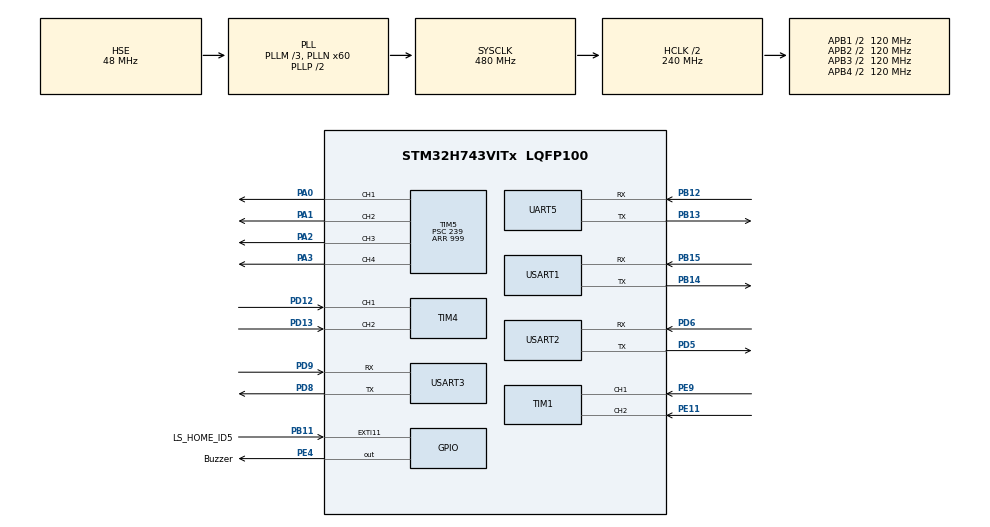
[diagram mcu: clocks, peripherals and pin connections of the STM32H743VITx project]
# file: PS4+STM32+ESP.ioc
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CORTEX_M7.default_mode_Activation=1
Dma.Request0=USART1_RX
Dma.Request1=USART1_TX
Dma.Request2=USART3_RX
Dma.Request3=USART3_TX
Dma.Request4=USART2_RX
Dma.Request5=USART2_TX
Dma.Request6=UART5_RX
Dma.Request7=UART5_TX
Dma.UART5_RX.6.Direction=DMA_PERIPH_TO_MEMORY
Dma.UART5_RX.6.EventEnable=DISABLE
Dma.UART5_RX.6.FIFOMode=DMA_FIFOMODE_DISABLE
Dma.UART5_RX.6.Instance=DMA1_Stream3
Dma.UART5_RX.6.MemDataAlignment=DMA_MDATAALIGN_BYTE
Dma.UART5_RX.6.MemInc=DMA_MINC_ENABLE
Dma.UART5_RX.6.Mode=DMA_NORMAL
Dma.UART5_RX.6.PeriphDataAlignment=DMA_PDATAALIGN_BYTE
Dma.UART5_RX.6.PeriphInc=DMA_PINC_DISABLE
Dma.UART5_RX.6.Polarity=HAL_DMAMUX_REQ_GEN_RISING
Dma.UART5_RX.6.Priority=DMA_PRIORITY_MEDIUM
Dma.UART5_RX.6.RequestNumber=1
Dma.UART5_RX.6.SignalID=NONE
Dma.UART5_RX.6.SyncEnable=DISABLE
Dma.UART5_RX.6.SyncPolarity=HAL_DMAMUX_SYNC_NO_EVENT
Dma.UART5_RX.6.SyncRequestNumber=1
Dma.UART5_RX.6.SyncSignalID=NONE
Dma.UART5_TX.7.Direction=DMA_MEMORY_TO_PERIPH
Dma.UART5_TX.7.EventEnable=DISABLE
Dma.UART5_TX.7.FIFOMode=DMA_FIFOMODE_DISABLE
Dma.UART5_TX.7.Instance=DMA1_Stream7
Dma.UART5_TX.7.MemDataAlignment=DMA_MDATAALIGN_BYTE
Dma.UART5_TX.7.MemInc=DMA_MINC_ENABLE
Dma.UART5_TX.7.Mode=DMA_NORMAL
Dma.UART5_TX.7.PeriphDataAlignment=DMA_PDATAALIGN_BYTE
Dma.UART5_TX.7.PeriphInc=DMA_PINC_DISABLE
Dma.UART5_TX.7.Polarity=HAL_DMAMUX_REQ_GEN_RISING
Dma.UART5_TX.7.Priority=DMA_PRIORITY_MEDIUM
Dma.UART5_TX.7.RequestNumber=1
Dma.UART5_TX.7.SignalID=NONE
Dma.UART5_TX.7.SyncEnable=DISABLE
Dma.UART5_TX.7.SyncPolarity=HAL_DMAMUX_SYNC_NO_EVENT
Dma.UART5_TX.7.SyncRequestNumber=1
Dma.UART5_TX.7.SyncSignalID=NONE
Dma.USART1_RX.0.Direction=DMA_PERIPH_TO_MEMORY
Dma.USART1_RX.0.EventEnable=DISABLE
Dma.USART1_RX.0.FIFOMode=DMA_FIFOMODE_DISABLE
Dma.USART1_RX.0.Instance=DMA1_Stream0
Dma.USART1_RX.0.MemDataAlignment=DMA_MDATAALIGN_BYTE
Dma.USART1_RX.0.MemInc=DMA_MINC_ENABLE
Dma.USART1_RX.0.Mode=DMA_NORMAL
Dma.USART1_RX.0.PeriphDataAlignment=DMA_PDATAALIGN_BYTE
Dma.USART1_RX.0.PeriphInc=DMA_PINC_DISABLE
Dma.USART1_RX.0.Polarity=HAL_DMAMUX_REQ_GEN_RISING
Dma.USART1_RX.0.Priority=DMA_PRIORITY_MEDIUM
Dma.USART1_RX.0.RequestNumber=1
Dma.USART1_RX.0.SignalID=NONE
Dma.USART1_RX.0.SyncEnable=DISABLE
Dma.USART1_RX.0.SyncPolarity=HAL_DMAMUX_SYNC_NO_EVENT
Dma.USART1_RX.0.SyncRequestNumber=1
Dma.USART1_RX.0.SyncSignalID=NONE
Dma.USART1_TX.1.Direction=DMA_MEMORY_TO_PERIPH
Dma.USART1_TX.1.EventEnable=DISABLE
Dma.USART1_TX.1.FIFOMode=DMA_FIFOMODE_DISABLE
Dma.USART1_TX.1.Instance=DMA1_Stream4
Dma.USART1_TX.1.MemDataAlignment=DMA_MDATAALIGN_BYTE
Dma.USART1_TX.1.MemInc=DMA_MINC_ENABLE
Dma.USART1_TX.1.Mode=DMA_NORMAL
Dma.USART1_TX.1.PeriphDataAlignment=DMA_PDATAALIGN_BYTE
Dma.USART1_TX.1.PeriphInc=DMA_PINC_DISABLE
Dma.USART1_TX.1.Polarity=HAL_DMAMUX_REQ_GEN_RISING
Dma.USART1_TX.1.Priority=DMA_PRIORITY_MEDIUM
Dma.USART1_TX.1.RequestNumber=1
Dma.USART1_TX.1.SignalID=NONE
Dma.USART1_TX.1.SyncEnable=DISABLE
Dma.USART1_TX.1.SyncPolarity=HAL_DMAMUX_SYNC_NO_EVENT
Dma.USART1_TX.1.SyncRequestNumber=1
Dma.USART1_TX.1.SyncSignalID=NONE
Dma.USART2_RX.4.Direction=DMA_PERIPH_TO_MEMORY
Dma.USART2_RX.4.EventEnable=DISABLE
Dma.USART2_RX.4.FIFOMode=DMA_FIFOMODE_DISABLE
Dma.USART2_RX.4.Instance=DMA1_Stream1
Dma.USART2_RX.4.MemDataAlignment=DMA_MDATAALIGN_BYTE
Dma.USART2_RX.4.MemInc=DMA_MINC_ENABLE
Dma.USART2_RX.4.Mode=DMA_NORMAL
Dma.USART2_RX.4.PeriphDataAlignment=DMA_PDATAALIGN_BYTE
Dma.USART2_RX.4.PeriphInc=DMA_PINC_DISABLE
Dma.USART2_RX.4.Polarity=HAL_DMAMUX_REQ_GEN_RISING
Dma.USART2_RX.4.Priority=DMA_PRIORITY_VERY_HIGH
Dma.USART2_RX.4.RequestNumber=1
Dma.USART2_RX.4.SignalID=NONE
Dma.USART2_RX.4.SyncEnable=DISABLE
Dma.USART2_RX.4.SyncPolarity=HAL_DMAMUX_SYNC_NO_EVENT
Dma.USART2_RX.4.SyncRequestNumber=1
Dma.USART2_RX.4.SyncSignalID=NONE
Dma.USART2_TX.5.Direction=DMA_MEMORY_TO_PERIPH
Dma.USART2_TX.5.EventEnable=DISABLE
Dma.USART2_TX.5.FIFOMode=DMA_FIFOMODE_DISABLE
Dma.USART2_TX.5.Instance=DMA1_Stream6
Dma.USART2_TX.5.MemDataAlignment=DMA_MDATAALIGN_BYTE
Dma.USART2_TX.5.MemInc=DMA_MINC_ENABLE
Dma.USART2_TX.5.Mode=DMA_NORMAL
Dma.USART2_TX.5.PeriphDataAlignment=DMA_PDATAALIGN_BYTE
Dma.USART2_TX.5.PeriphInc=DMA_PINC_DISABLE
Dma.USART2_TX.5.Polarity=HAL_DMAMUX_REQ_GEN_RISING
Dma.USART2_TX.5.Priority=DMA_PRIORITY_VERY_HIGH
Dma.USART2_TX.5.RequestNumber=1
Dma.USART2_TX.5.SignalID=NONE
Dma.USART2_TX.5.SyncEnable=DISABLE
Dma.USART2_TX.5.SyncPolarity=HAL_DMAMUX_SYNC_NO_EVENT
Dma.USART2_TX.5.SyncRequestNumber=1
Dma.USART2_TX.5.SyncSignalID=NONE
Dma.USART3_RX.2.Direction=DMA_PERIPH_TO_MEMORY
Dma.USART3_RX.2.EventEnable=DISABLE
Dma.USART3_RX.2.FIFOMode=DMA_FIFOMODE_DISABLE
Dma.USART3_RX.2.Instance=DMA1_Stream5
Dma.USART3_RX.2.MemDataAlignment=DMA_MDATAALIGN_BYTE
Dma.USART3_RX.2.MemInc=DMA_MINC_ENABLE
Dma.USART3_RX.2.Mode=DMA_NORMAL
Dma.USART3_RX.2.PeriphDataAlignment=DMA_PDATAALIGN_BYTE
Dma.USART3_RX.2.PeriphInc=DMA_PINC_DISABLE
Dma.USART3_RX.2.Polarity=HAL_DMAMUX_REQ_GEN_RISING
Dma.USART3_RX.2.Priority=DMA_PRIORITY_VERY_HIGH
Dma.USART3_RX.2.RequestNumber=1
Dma.USART3_RX.2.SignalID=NONE
Dma.USART3_RX.2.SyncEnable=DISABLE
Dma.USART3_RX.2.SyncPolarity=HAL_DMAMUX_SYNC_NO_EVENT
Dma.USART3_RX.2.SyncRequestNumber=1
Dma.USART3_RX.2.SyncSignalID=NONE
Dma.USART3_TX.3.Direction=DMA_MEMORY_TO_PERIPH
Dma.USART3_TX.3.EventEnable=DISABLE
Dma.USART3_TX.3.FIFOMode=DMA_FIFOMODE_DISABLE
Dma.USART3_TX.3.Instance=DMA1_Stream2
Dma.USART3_TX.3.MemDataAlignment=DMA_MDATAALIGN_BYTE
Dma.USART3_TX.3.MemInc=DMA_MINC_ENABLE
Dma.USART3_TX.3.Mode=DMA_NORMAL
Dma.USART3_TX.3.PeriphDataAlignment=DMA_PDATAALIGN_BYTE
Dma.USART3_TX.3.PeriphInc=DMA_PINC_DISABLE
Dma.USART3_TX.3.Polarity=HAL_DMAMUX_REQ_GEN_RISING
Dma.USART3_TX.3.Priority=DMA_PRIORITY_VERY_HIGH
Dma.USART3_TX.3.RequestNumber=1
Dma.USART3_TX.3.SignalID=NONE
Dma.USART3_TX.3.SyncEnable=DISABLE
Dma.USART3_TX.3.SyncPolarity=HAL_DMAMUX_SYNC_NO_EVENT
Dma.USART3_TX.3.SyncRequestNumber=1
Dma.USART3_TX.3.SyncSignalID=NONE
Mcu.Family=STM32H7
Mcu.Name=STM32H743VITx
Mcu.Package=LQFP100
NVIC.DMA1_Stream0_IRQn=true\:0\:0\:false\:false\:true\:false\:true\:true
NVIC.DMA1_Stream1_IRQn=true\:0\:0\:false\:false\:true\:false\:true\:true
NVIC.DMA1_Stream2_IRQn=true\:0\:0\:false\:false\:true\:false\:true\:true
NVIC.DMA1_Stream3_IRQn=true\:0\:0\:false\:false\:true\:false\:true\:true
NVIC.DMA1_Stream4_IRQn=true\:0\:0\:false\:false\:true\:false\:true\:true
NVIC.DMA1_Stream5_IRQn=true\:0\:0\:false\:false\:true\:false\:true\:true
NVIC.DMA1_Stream6_IRQn=true\:0\:0\:false\:false\:true\:false\:true\:true
NVIC.DMA1_Stream7_IRQn=true\:0\:0\:false\:false\:true\:false\:true\:true
NVIC.EXTI15_10_IRQn=true\:0\:0\:false\:false\:true\:true\:true\:true
NVIC.PriorityGroup=NVIC_PRIORITYGROUP_4
NVIC.TIM16_IRQn=true\:0\:0\:false\:false\:true\:true\:true\:true
NVIC.TIM17_IRQn=true\:0\:0\:false\:false\:true\:true\:true\:true
NVIC.TIM5_IRQn=true\:0\:0\:false\:false\:true\:true\:true\:true
NVIC.UART5_IRQn=true\:0\:0\:false\:false\:true\:true\:true\:true
NVIC.USART1_IRQn=true\:0\:0\:false\:false\:true\:true\:true\:true
NVIC.USART2_IRQn=true\:0\:0\:false\:false\:true\:true\:true\:true
NVIC.USART3_IRQn=true\:0\:0\:false\:false\:true\:true\:true\:true
PA0.Signal=S_TIM5_CH1
PA1.Signal=S_TIM5_CH2
PA2.Signal=S_TIM5_CH3
PA3.Signal=S_TIM5_CH4
PB11.GPIO_Label=LS_HOME_ID5
PB11.GPIO_ModeDefaultEXTI=GPIO_MODE_IT_RISING
PB11.GPIO_PuPd=GPIO_PULLUP
PB11.Signal=GPXTI11
PB12.Mode=Asynchronous
PB12.Signal=UART5_RX
PB13.Mode=Asynchronous
PB13.Signal=UART5_TX
PB14.Mode=Asynchronous
PB14.Signal=USART1_TX
PB15.Mode=Asynchronous
PB15.Signal=USART1_RX
PD12.Signal=S_TIM4_CH1
PD13.Signal=S_TIM4_CH2
PD5.Mode=Asynchronous
PD5.Signal=USART2_TX
PD6.Mode=Asynchronous
PD6.Signal=USART2_RX
PD8.Mode=Asynchronous
PD8.Signal=USART3_TX
PD9.Mode=Asynchronous
PD9.Signal=USART3_RX
PE11.Signal=S_TIM1_CH2
PE4.GPIO_Label=Buzzer
PE4.PinState=GPIO_PIN_SET
PE4.Signal=GPIO_Output
PE9.Signal=S_TIM1_CH1
PH0-OSC_IN\ (PH0).Mode=HSE-External-Oscillator
PH0-OSC_IN\ (PH0).Signal=RCC_OSC_IN
PH1-OSC_OUT\ (PH1).Mode=HSE-External-Oscillator
PH1-OSC_OUT\ (PH1).Signal=RCC_OSC_OUT
ProjectManager.HeapSize=0x200
ProjectManager.StackSize=0x400
ProjectManager.TargetToolchain=MDK-ARM V5
RCC.ADCFreq_Value=480000000
RCC.APB1Freq_Value=120000000
RCC.APB2Freq_Value=120000000
RCC.APB3Freq_Value=120000000
RCC.APB4Freq_Value=120000000
RCC.CortexFreq_Value=480000000
RCC.D1PPRE=RCC_APB3_DIV2
RCC.D2PPRE1=RCC_APB1_DIV2
RCC.D2PPRE2=RCC_APB2_DIV2
RCC.D3PPRE=RCC_APB4_DIV2
RCC.DATA_CACHE_ENABLE=1
RCC.DIVM1=3
RCC.DIVM2=3
RCC.DIVN1=60
RCC.DIVN2=60
RCC.HCLKFreq_Value=240000000
RCC.HPRE=RCC_HCLK_DIV2
RCC.HSE_VALUE=48000000
RCC.INSTRUCTION_CACHE_ENABLE=1
RCC.PLL2FRACN=0
RCC.PLL3FRACN=0
RCC.PLLFRACN=0
RCC.PLLSourceVirtual=RCC_PLLSOURCE_HSE
RCC.PREFETCH_ENABLE=1
RCC.SYSCLKFreq_VALUE=480000000
RCC.SYSCLKSource=RCC_SYSCLKSOURCE_PLLCLK
RCC.USBFreq_Value=480000000
SH.S_TIM1_CH1.0=TIM1_CH1,Encoder_Interface
SH.S_TIM1_CH2.0=TIM1_CH2,Encoder_Interface
SH.S_TIM4_CH1.0=TIM4_CH1,Encoder_Interface
SH.S_TIM4_CH2.0=TIM4_CH2,Encoder_Interface
SH.S_TIM5_CH1.0=TIM5_CH1,PWM Generation1 CH1
SH.S_TIM5_CH2.0=TIM5_CH2,PWM Generation2 CH2
SH.S_TIM5_CH3.0=TIM5_CH3,PWM Generation3 CH3
SH.S_TIM5_CH4.0=TIM5_CH4,PWM Generation4 CH4
TIM1.IC1Polarity=TIM_ICPOLARITY_FALLING
TIM16.Prescaler=3
TIM17.Prescaler=3
TIM4.IC1Polarity=TIM_ICPOLARITY_FALLING
TIM5.Channel-PWM\ Generation1\ CH1=TIM_CHANNEL_1
TIM5.Channel-PWM\ Generation2\ CH2=TIM_CHANNEL_2
TIM5.Channel-PWM\ Generation3\ CH3=TIM_CHANNEL_3
TIM5.Channel-PWM\ Generation4\ CH4=TIM_CHANNEL_4
TIM5.OCMode_PWM-PWM\ Generation1\ CH1=TIM_OCMODE_PWM2
TIM5.OCMode_PWM-PWM\ Generation2\ CH2=TIM_OCMODE_PWM2
TIM5.Period=999
TIM5.Prescaler=239
USART1.VirtualMode-Asynchronous=VM_ASYNC
USART2.VirtualMode-Asynchronous=VM_ASYNC
USART3.VirtualMode-Asynchronous=VM_ASYNC
VP_MEMORYMAP_VS_MEMORYMAP.Mode=CurAppReg
VP_TIM16_VS_ClockSourceINT.Mode=Enable_Timer
VP_TIM17_VS_ClockSourceINT.Mode=Enable_Timer
VP_TIM5_VS_ClockSourceINT.Mode=Internal
board=custom

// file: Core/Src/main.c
/* USER CODE BEGIN Header */
/**
 ******************************************************************************
 * @file           : main.c
 * @brief          : Main program body
 ******************************************************************************
 * @attention
 *
 * Copyright (c) 2026 STMicroelectronics.
 * All rights reserved.
 *
 * This software is licensed under terms that can be found in the LICENSE file
 * in the root directory of this software component.
 * If no LICENSE file comes with this software, it is provided AS-IS.
 *
 ******************************************************************************
 */
/* USER CODE END Header */
#include "main.h"
#include "dma.h"
#include "tim.h"
#include "usart.h"
#include "gpio.h"

/* USER CODE BEGIN Includes */
#include <math.h>
#include "PS4_ESP.h"
#include "PID.h"
#include "DRIVER_PID_AML.h"
#include "TIMER_TIMEOUT.h"
#include "MECANUM_FIELD_KIN.h"
#include "WT901C.h"
#include "ROBOT_ACCELERATION.h"

/* USER CODE END Includes */

/* USER CODE BEGIN PV */
// Bien PS4
extern volatile BS Button_State;
volatile BS Last_Button = BUTTON_NONE;
typedef enum
{
  BUTTON_IDLE,
  BUTTON_PRESSED,
  BUTTON_RELEASED
} ButtonState_t;
volatile ButtonState_t Button_Hold_State = BUTTON_IDLE;

volatile uint8_t Button_Debounce_Counter = 0;
#define BUTTON_DEBOUNCE_THRESHOLD 5

// Timeout va Flags
Task_Timeout Task_TO[TASK_NUMS];
uint16_t Timer_OVF_Flag_2 = 0;
volatile uint16_t tick_1ms_pending = 0;
volatile uint8_t ps4_req_flag = 0;
volatile uint8_t wheel_send_flag = 0;
volatile uint8_t steering_send_flag = 0;

// Robot Mecanum
MRb Mecanum_4_Bot;
PID_TypeDef Mecanum_Omega_PID;

// IMU
WT901C IMU;
uint8_t Robot_Reset_Home = 0;
float initial_angle = 0.0f;

// Trang thai nut bam
uint8_t Button_X_Active = 0;
uint8_t Button_Circle_Active = 0;
int8_t Robot_Direction = 1;
uint8_t PS4_Ever_Connected = 0;

// Motor drivers
#define WHEEL_MOTOR_COUNT 4
#define STEERING_MOTOR_COUNT 2
#define STEERING0_MASK 0x01u
#define STEERING1_MASK 0x02u
#define STEERING0_PRESET_COUNT 3
Motor_Driver Wheel_Motors[WHEEL_MOTOR_COUNT];
Motor_Driver Steering_Motors[STEERING_MOTOR_COUNT];

volatile int16_t Steering_Target[STEERING_MOTOR_COUNT] = {0, 0};
volatile int16_t Steering_Home_Target[STEERING_MOTOR_COUNT] = {0, 0};
volatile uint8_t Steering_Dirty_Mask = 0;
static const int16_t Steering0_Presets[3] = {8400, 13000, 18500};
static const int16_t Steering0_OpenPresets[3] = {7000, 10000, 15500};
volatile uint8_t Steering0_Preset_Index = 0;

#define UP_DOUBLE_PRESS_MS 350
#define RIGHT_MULTI_PRESS_MS 450
#define TOUCHPAD_WHEEL_LOCK_MS 250
#define STEERING_HOME_REQUEST_DELAY_MS 120
#define STEERING_HOME_FIXED_ID5 0
#define STEERING_HOME_FIXED_ID6 0
#define LS_HOME_ID5_DEBOUNCE_MS 20u
#define LS_HOME_ID5_ACTIVE_STATE GPIO_PIN_RESET
#define STEERING_ID5_HOME_SEEK_TARGET (-28000)
volatile uint8_t Up_Click_Armed = 0;
volatile uint32_t Up_Last_Click_Tick = 0;
volatile uint8_t Right_Click_Count = 0;
volatile uint32_t Right_Last_Click_Tick = 0;
volatile uint32_t Wheel_Lock_Until_Tick = 0;
volatile uint8_t LS_Home_Id5_Stop_Request = 0;
volatile uint8_t LS_Home_Id5_Homing_Armed = 0;
volatile uint32_t LS_Home_Id5_Last_Tick = 0;
volatile uint8_t DBG_LS_Id5_PinState = 0u;
volatile uint8_t DBG_LS_Id5_HomingArmed = 0u;
volatile uint8_t DBG_LS_Id5_Pending = 0u;
volatile uint8_t DBG_LS_Id5_StopReq = 0u;
volatile uint8_t DBG_PS4_ButtonState = 0u;
volatile uint8_t DBG_PS4_LastButton = 0u;
volatile uint8_t DBG_L1_Home_Request_Count = 0u;
volatile uint8_t DBG_LS_Id5_EXTI_Count = 0u;
volatile uint8_t DBG_LS_Id5_Latched_Count = 0u;
// Buzzer
struct
{
  uint8_t active;
  uint16_t duration;
  uint16_t counter;
} Buzzer = {0};

RobotAcceleration Wheel_Acceleration[WHEEL_MOTOR_COUNT];
RobotAcceleration Steering_Acceleration[STEERING_MOTOR_COUNT];

float prev_vx_cmd = 0.0f;
float prev_vy_cmd = 0.0f;
float prev_omg_cmd = 0.0f;

typedef enum
{
  LED_A,
  LED_B,
  LED_RUN,
  LED_FAULT
} LED_TypeDef;

#define JOYSTICK_DEADBAND 0.06f
#define SLEW_VX_PER_MS 0.008f
#define SLEW_VY_PER_MS 0.008f
#define SLEW_OMG_PER_MS 0.008f
#define CONTROL_DT_SEC 0.001f
#define WHEEL_ACCEL_DURATION_SEC 0.18f
#define STEERING_ACCEL_DURATION_SEC 0.15f
#define STEERING_REFRESH_MS 20u
#define WHEEL1_GAIN 1.00f
#define WHEEL2_GAIN 0.68f
#define WHEEL3_GAIN 1.00f
#define WHEEL4_GAIN 1.00f

#define YAW_SPEED_SCALE 1.5f
#define YAW_FIX_ROT_INPUT_DEADBAND 0.04f
#define YAW_FIX_ROT_INTENT_THRESH 0.20f
#define YAW_FIX_ROT_INTENT_HOLD_MS 40
#define YAW_FIX_ENGAGE_ERR_DEG 1.8f
#define YAW_FIX_RELEASE_ERR_DEG 0.55f
#define YAW_FIX_STILL_SPEED_THRESH 0.08f
#define YAW_FIX_STILL_MAX_CORR 0.18f
#define YAW_FIX_MOVE_MAX_CORR 0.58f
#define YAW_FIX_FAST_ERR_START_DEG 8.0f
#define YAW_FIX_FAST_ERR_FULL_DEG 40.0f
#define YAW_FIX_FAST_MAX_CORR_RATIO 0.88f
#define YAW_FIX_KS_START_DEG 5.5f
#define YAW_FIX_KS_FULL_DEG 30.0f
#define YAW_FIX_KS_MIN 0.03f
#define YAW_FIX_KS_MAX 0.14f
#define YAW_FIX_DWELL_MS 45u
#define YAW_MIN_OMEGA 1.0f
#define YAW_CORR_SLEW_PER_MS 0.006f
#define YAW_CORR_SLEW_BOOST_PER_MS 0.012f
#define YAW_CORR_DECAY_PER_MS 0.003f

/* USER CODE END PV */

void SystemClock_Config(void);
static void MPU_Config(void);

/* USER CODE BEGIN 0 */
void Robot_Hold_Stop(void);
void HandleButtonPress(void);
void Position_Motor_Update(void);
void Buzzer_Beep(uint16_t duration_ms);
static void Reset_Button_Sequences(void);
static void Steering_Id5_LimitStop_RequestFromIsr(void);
static void Steering_Id5_LimitHome_Process(void);
static void Steering_Id5_LimitLevel_Monitor(void);
static void Handle_R1_OpenGrip_Request(void);
static uint8_t LS_Home_Id5_IsClosed(void);
static void LS_Id5_RequestStop(void);
static void Debug_Snapshot_Update(void);
static uint8_t LS_Home_Id5_IsClosed(void)
{
  GPIO_PinState pin_state = HAL_GPIO_ReadPin(LS_HOME_ID5_GPIO_Port, LS_HOME_ID5_Pin);
  DBG_LS_Id5_PinState = (uint8_t)pin_state;
  return (pin_state == LS_HOME_ID5_ACTIVE_STATE) ? 1u : 0u;
}

static void LS_Id5_RequestStop(void)
{
  if (LS_Home_Id5_Stop_Request == 0u)
  {
    DBG_LS_Id5_Latched_Count++;
  }

  LS_Home_Id5_Stop_Request = 1u;
  DBG_LS_Id5_StopReq = LS_Home_Id5_Stop_Request;
}

static void Debug_Snapshot_Update(void)
{
  DBG_LS_Id5_PinState = (uint8_t)HAL_GPIO_ReadPin(LS_HOME_ID5_GPIO_Port, LS_HOME_ID5_Pin);
  DBG_LS_Id5_HomingArmed = LS_Home_Id5_Homing_Armed;
  DBG_LS_Id5_Pending = LS_Home_Id5_Stop_Request;
  DBG_LS_Id5_StopReq = LS_Home_Id5_Stop_Request;
  DBG_PS4_ButtonState = (uint8_t)(((uint16_t)Button_State) & 0xFFu);
  DBG_PS4_LastButton = (uint8_t)(((uint16_t)Last_Button) & 0xFFu);
}

static void Steering_Id5_LimitLevel_Monitor(void)
{
  if ((LS_Home_Id5_Homing_Armed != 0u) && (LS_Home_Id5_IsClosed() != 0u))
  {
    LS_Id5_RequestStop();
  }
}

static void Steering_SoftHome_FromReference(void)
{
  LS_Home_Id5_Stop_Request = 0u;
  LS_Home_Id5_Homing_Armed = 0u;

  // Home ID5 = vi tri thuc te tai thoi diem bat nguon.
  Driver_Set_Zero_Position(Steering_Motors[0]);
  HAL_Delay(STEERING_HOME_REQUEST_DELAY_MS);

  // ID6 van giu quy trinh home hien tai
  Driver_Home_Request(Steering_Motors[1]);
  HAL_Delay(STEERING_HOME_REQUEST_DELAY_MS);

  Steering_Home_Target[0] = STEERING_HOME_FIXED_ID5;
  Steering_Home_Target[1] = STEERING_HOME_FIXED_ID6;
  Steering_Target[0] = Steering_Home_Target[0];
  Steering_Target[1] = Steering_Home_Target[1];
  Steering0_Preset_Index = 0;
  Reset_Button_Sequences();

  Wheel_Lock_Until_Tick = HAL_GetTick() + TOUCHPAD_WHEEL_LOCK_MS;
  prev_vx_cmd = 0.0f;
  prev_vy_cmd = 0.0f;
  prev_omg_cmd = 0.0f;

  Position_Motor_Update();
  Steering_Dirty_Mask |= (STEERING0_MASK | STEERING1_MASK);
}

static void Steering_RequestTarget(uint8_t motor_idx, int16_t target)
{
  if (motor_idx >= STEERING_MOTOR_COUNT)
  {
    return;
  }

  // Lenh tay (khong phai home target/seek target) se huy che do homing ID5.
  if ((motor_idx == 0u) &&
      (target != Steering_Home_Target[0]) &&
      (target != STEERING_ID5_HOME_SEEK_TARGET))
  {
    LS_Home_Id5_Homing_Armed = 0u;
  }

  Steering_Target[motor_idx] = target;
  Steering_Dirty_Mask |= (uint8_t)(1u << motor_idx);
}

static void Reset_Button_Sequences(void)
{
  Right_Click_Count = 0;
  Up_Click_Armed = 0;
}

static void Handle_Right_MultiPress(void)
{
  uint32_t now_tick = HAL_GetTick();

  if ((now_tick - Right_Last_Click_Tick) <= RIGHT_MULTI_PRESS_MS)
  {
    if (Right_Click_Count < 2u)
    {
      Right_Click_Count++;
    }
  }
  else
  {
    Right_Click_Count = 1;
  }

  Right_Last_Click_Tick = now_tick;
  if (Right_Click_Count <= 1u)
  {
    Steering0_Preset_Index = 0u; // muc be nhat
  }
  else
  {
    Steering0_Preset_Index = 1u; // muc be thu 2
    Right_Click_Count = 0u;
  }

  Steering_RequestTarget(0, Steering0_Presets[Steering0_Preset_Index]);

  Buzzer_Beep(50);
}

static void Handle_Up_DoublePress(void)
{
  uint32_t now_tick = HAL_GetTick();

  if (Up_Click_Armed && ((now_tick - Up_Last_Click_Tick) <= UP_DOUBLE_PRESS_MS))
  {
    Steering_RequestTarget(1, 650);
    Up_Click_Armed = 0;
    Buzzer_Beep(120);
  }
  else
  {
    Steering_RequestTarget(1, 300);
    Up_Click_Armed = 1;
    Up_Last_Click_Tick = now_tick;
    Buzzer_Beep(80);
  }
}
static void Handle_L1_Home_Request(void)
{
  LS_Home_Id5_Homing_Armed = 1u;

  // ID6 van quay ve moc home co dinh.
  Steering_RequestTarget(1, Steering_Home_Target[1]);

  LS_Home_Id5_Stop_Request = 0u;
  DBG_L1_Home_Request_Count++;

  if (LS_Home_Id5_IsClosed() != 0u)
  {
    // Cong tac da dong (0): dung ngay va chot home.
    LS_Id5_RequestStop();
  }
  else
  {
    // Chua cham cong tac: quay ID5 theo chieu nguoc setpoint kep cho den khi cham LS.
    Steering_RequestTarget(0, STEERING_ID5_HOME_SEEK_TARGET);
  }

  Steering0_Preset_Index = 0;
  Reset_Button_Sequences();
  Wheel_Lock_Until_Tick = HAL_GetTick() + TOUCHPAD_WHEEL_LOCK_MS;
  Robot_Hold_Stop();
  prev_vx_cmd = 0.0f;
  prev_vy_cmd = 0.0f;
  prev_omg_cmd = 0.0f;
  Buzzer_Beep(80);
}

static void Handle_R1_OpenGrip_Request(void)
{
  int16_t current_target = Steering_Target[0];
  uint8_t nearest_idx = 0u;
  int32_t diff = (int32_t)current_target - (int32_t)Steering0_Presets[0];
  int32_t min_abs_diff;

  if (diff < 0)
  {
    diff = -diff;
  }
  min_abs_diff = diff;

  for (uint8_t i = 1u; i < STEERING0_PRESET_COUNT; i++)
  {
    int32_t d = (int32_t)current_target - (int32_t)Steering0_Presets[i];
    if (d < 0)
    {
      d = -d;
    }

    if (d < min_abs_diff)
    {
      min_abs_diff = d;
      nearest_idx = i;
    }
  }

  // R1: map muc kep hien tai sang muc mo tuong ung.
  Steering0_Preset_Index = nearest_idx;
  Steering_RequestTarget(0, Steering0_OpenPresets[nearest_idx]);
  Reset_Button_Sequences();
  Buzzer_Beep(70);
}

static void Steering_Id5_LimitStop_RequestFromIsr(void)
{
  if (LS_Home_Id5_Homing_Armed == 0u)
  {
    return;
  }

  LS_Id5_RequestStop();
}

static void Steering_Id5_LimitHome_Process(void)
{
  if (LS_Home_Id5_Stop_Request != 0u)
  {
    int16_t home_setpoint = Steering_Home_Target[0];

    LS_Home_Id5_Stop_Request = 0u;
    LS_Home_Id5_Homing_Armed = 0u;
    DBG_LS_Id5_StopReq = LS_Home_Id5_Stop_Request;
    DBG_LS_Id5_HomingArmed = LS_Home_Id5_Homing_Armed;

    // Cong tac = 0 (dong) khi ve home: dung ngay va chot lai home cho ID5.
    Driver_Set_Zero_Position(Steering_Motors[0]);

    // Sau khi chot zero, giu lenh tai moc home (0).
    Steering_Target[0] = home_setpoint;
    Steering_Motors[0].Set_Point = home_setpoint;
    RobotAcceleration_Init(&Steering_Acceleration[0], (float)home_setpoint, STEERING_ACCEL_DURATION_SEC);
    Steering_Dirty_Mask |= STEERING0_MASK;

    Steering0_Preset_Index = 0u;
    Reset_Button_Sequences();
    Buzzer_Beep(120);
  }
}

static float NormalizeAngleDeg(float angle_deg)
{
  while (angle_deg > 180.0f)
    angle_deg -= 360.0f;
  while (angle_deg < -180.0f)
    angle_deg += 360.0f;
  return angle_deg;
}

static float ClampFloat(float value, float min_val, float max_val)
{
  if (value > max_val)
    return max_val;
  if (value < min_val)
    return min_val;
  return value;
}

static int16_t ClampToInt16(float value)
{
  if (value > 32767.0f)
    return 32767;
  if (value < -32768.0f)
    return -32768;
  return (int16_t)value;
}

static int16_t AbsInt16(int16_t value)
{
  return (value < 0) ? (int16_t)(-value) : value;
}

void Set_LED_State(LED_TypeDef led, GPIO_PinState state)
{
  (void)led;
  (void)state;
}

void Buzzer_Beep(uint16_t duration_ms)
{
  if(!Buzzer.active)
  {
    Buzzer.active = 1;
    Buzzer.duration = duration_ms;
    Buzzer.counter = 0;
    HAL_GPIO_WritePin(Buzzer_GPIO_Port, Buzzer_Pin, GPIO_PIN_RESET);
  }
}

void Buzzer_Update(void)
{
  if (Buzzer.active)
  {
    Buzzer.counter++;
    if (Buzzer.counter >= Buzzer.duration)
    {
      HAL_GPIO_WritePin(Buzzer_GPIO_Port, Buzzer_Pin, GPIO_PIN_SET);
      Buzzer.active = 0;
      Buzzer.counter = 0;
    }
  }
}

void HAL_TIM_PeriodElapsedCallback(TIM_HandleTypeDef *htim)
{
  if (htim->Instance == TIM5)
  {
    if (tick_1ms_pending < 2000u)
    {
      tick_1ms_pending++;
    }

    if (++Timer_OVF_Flag_2 > 10)
    {
      Timer_OVF_Flag_2 = 0;
      ps4_req_flag = 1;
    }

    Buzzer_Update();
  }
  else if (htim->Instance == TIM16)
  {
    HandleButtonPress();
  }
}

void Robot_Hold_Stop(void)
{
  for (int i = 0; i < WHEEL_MOTOR_COUNT; i++)
  {
    Wheel_Motors[i].Set_Point = 0;
    RobotAcceleration_Init(&Wheel_Acceleration[i], 0.0f, WHEEL_ACCEL_DURATION_SEC);
  }
}

void Position_Motor_Update(void)
{
  for (uint8_t i = 0; i < STEERING_MOTOR_COUNT; i++)
  {
    float steering_target = (float)Steering_Target[i];
    RobotAcceleration_SetTarget(&Steering_Acceleration[i], steering_target, STEERING_ACCEL_DURATION_SEC);
    Steering_Motors[i].Set_Point = ClampToInt16(RobotAcceleration_Update(&Steering_Acceleration[i], CONTROL_DT_SEC));
  }
}

HAL_StatusTypeDef Steering_Send_Queued(void)
{
  if (steering_send_flag != 0u)
  {
    return HAL_BUSY;
  }

  HAL_StatusTypeDef st = Driver_Send_Setpoints_U2(Steering_Motors, STEERING_MOTOR_COUNT);
  if (st == HAL_OK)
  {
    steering_send_flag = 1;
    Steering_Dirty_Mask = 0;
  }

  return st;
}

/*------------------------------------UART Tx Rx IT Handle--------------------------------------*/
void HAL_UART_TxCpltCallback(UART_HandleTypeDef *huart)
{
  if (huart->Instance == USART3)
  {
    wheel_send_flag = 0;
  }
  if (huart->Instance == UART5)
  {
    steering_send_flag = 0;
  }
}

void HAL_UART_RxCpltCallback(UART_HandleTypeDef *huart)
{
  if (huart->Instance == USART1)
  {
    PS4_UART_Rx_IDLE_Handle();
    Timer_Timeout_Reset(&Task_TO[0]);
  }
  if (huart->Instance == USART2)
  {
    WT901C_UART_Rx_IDLE_Hanlde(&IMU);
    Timer_Timeout_Reset(&Task_TO[1]);
  }
}

void HAL_GPIO_EXTI_Callback(uint16_t GPIO_Pin)
{
  if (GPIO_Pin == LS_HOME_ID5_Pin)
  {
    DBG_LS_Id5_EXTI_Count++;
    uint32_t now_tick = HAL_GetTick();
    if ((now_tick - LS_Home_Id5_Last_Tick) < LS_HOME_ID5_DEBOUNCE_MS)
    {
      return;
    }

    LS_Home_Id5_Last_Tick = now_tick;
    if (LS_Home_Id5_IsClosed() != 0u)
    {
      Steering_Id5_LimitStop_RequestFromIsr();
    }
  }
}
// Xu ly nut bam PS4
void HandleButtonPress(void)
{
  switch (Button_Hold_State)
  {
  case BUTTON_IDLE:
    if (Button_State != 0)
    {
      Button_Debounce_Counter++;
      if (Button_Debounce_Counter >= BUTTON_DEBOUNCE_THRESHOLD)
      {
        Last_Button = Button_State;
        Button_Hold_State = BUTTON_PRESSED;
        Button_Debounce_Counter = 0;
      }
    }
    else
    {
      Button_Debounce_Counter = 0;

      // Huy chuoi nhan neu da vuot cua so thoi gian de tranh dinh trang thai cu.
      if ((Right_Click_Count != 0u) && ((HAL_GetTick() - Right_Last_Click_Tick) > RIGHT_MULTI_PRESS_MS))
      {
        Right_Click_Count = 0;
      }
      if (Up_Click_Armed && ((HAL_GetTick() - Up_Last_Click_Tick) > UP_DOUBLE_PRESS_MS))
      {
        Up_Click_Armed = 0;
      }
    }
    break;

  case BUTTON_PRESSED:
    if (Button_State == 0)
    {
      Button_Debounce_Counter++;
      if (Button_Debounce_Counter >= BUTTON_DEBOUNCE_THRESHOLD)
      {
        Button_Hold_State = BUTTON_RELEASED;
        Button_Debounce_Counter = 0;
      }
    }
    else
    {
      Button_Debounce_Counter = 0;
    }
    break;

  case BUTTON_RELEASED:
    // Theo code mau: xu ly theo nut don le de tranh kich nham khi co combo/noise bitmask.
    if ((((uint16_t)Last_Button) & ((uint16_t)BUTTON_L1)) != 0u)
    {
      Handle_L1_Home_Request();
      Button_Hold_State = BUTTON_IDLE;
      Last_Button = BUTTON_NONE;
      break;
    }
    if ((((uint16_t)Last_Button) & ((uint16_t)BUTTON_R1)) != 0u)
    {
      Handle_R1_OpenGrip_Request();
      Button_Hold_State = BUTTON_IDLE;
      Last_Button = BUTTON_NONE;
      break;
    }

    switch (Last_Button)
    {
    case BUTTON_CROSS:
      Button_X_Active = !Button_X_Active;
      if (Button_X_Active)
      {
        Mecanum_4_Bot.fix_angle = -IMU.Yaw;
        Mecanum_4_Bot.is_yaw_fix = 1;
        PID_Init(&Mecanum_Omega_PID);
        Button_Circle_Active = 0;
        Buzzer_Beep(100);
      }
      else
      {
        Mecanum_4_Bot.is_yaw_fix = 0;
        Buzzer_Beep(50);
      }
      break;

    case BUTTON_TRIANGLE:
      Robot_Reset_Home = 1;
      Button_X_Active = 0;
      Button_Circle_Active = 0;
      Mecanum_4_Bot.is_yaw_fix = 0;
      Buzzer_Beep(150);
      break;

    case BUTTON_L1:
      Handle_L1_Home_Request();
      break;

    case BUTTON_R1:
      Handle_R1_OpenGrip_Request();
      break;

    case BUTTON_LEFT:
      Steering0_Preset_Index = (STEERING0_PRESET_COUNT - 1u); // muc lon nhat
      Steering_RequestTarget(0, Steering0_Presets[Steering0_Preset_Index]);
      Right_Click_Count = 0;
      Buzzer_Beep(50);
      break;

    case BUTTON_RIGHT:
      Handle_Right_MultiPress();
      break;

    case BUTTON_UP:
      Handle_Up_DoublePress();
      break;

    case BUTTON_DOWN:
      Steering_RequestTarget(1, -300);
      Buzzer_Beep(50);
      break;

    case BUTTON_TOUCHPAD:
      Robot_Direction = -Robot_Direction;
      Buzzer_Beep(80);
      break;

    case BUTTON_SQUARE:
      Buzzer_Beep(50);
      break;

    case BUTTON_OPTIONS:
      Buzzer_Beep(50);
      break;

    default:
      break;
    }

    Last_Button = BUTTON_NONE;
    Button_Hold_State = BUTTON_IDLE;
    Button_Debounce_Counter = 0;
    break;
  }

  // Cap nhat trang thai giu goc
  if (Button_X_Active)
    Mecanum_4_Bot.is_yaw_fix = 1;
}

// Xu ly PS4
void PS4_Process(void)
{
  if (ps4_req_flag)
  {
    ps4_req_flag = 0;
    PS4_UART_Req();
  }
}

// Tinh toan dong hoc Mecanum
void Mecanum_Calculate(void)
{
  if ((int32_t)(Wheel_Lock_Until_Tick - HAL_GetTick()) > 0)
  {
    Robot_Hold_Stop();
    prev_vx_cmd = 0.0f;
    prev_vy_cmd = 0.0f;
    prev_omg_cmd = 0.0f;
    return;
  }

  float mapped_x, mapped_y, mapped_z;
  float vx_cmd, vy_cmd, omg_cmd;
  float angle_error;
  float vx_diff, vy_diff, omg_diff;
  static uint16_t yaw_manual_rotate_counter = 0;
  static float yaw_corr_prev = 0.0f;
  static uint8_t yaw_hold_active = 0;
  static uint16_t yaw_settle_counter = 0;

  Mecanum_4_Bot.max_speed = 1.68f - (1.08f * PS4_Dat.r2_analog / 255.0f);

  if (PS4_Dat.l2_analog > 100)
  {
    Mecanum_4_Bot.max_speed *= 2.0f;
  }

  Mecanum_4_Bot.max_omega = Mecanum_4_Bot.max_speed * 0.8f * YAW_SPEED_SCALE;
  if (Mecanum_4_Bot.max_omega < YAW_MIN_OMEGA)
  {
    Mecanum_4_Bot.max_omega = YAW_MIN_OMEGA;
  }

  // Doc joystick va chuan hoa
  mapped_x = (float)PS4_Dat.l_stick_x / 128.0f;
  mapped_y = (float)PS4_Dat.l_stick_y / 128.0f;
  mapped_z = (float)PS4_Dat.r_stick_x / 128.0f;

  // Deadband
  if (mapped_x > -JOYSTICK_DEADBAND && mapped_x < JOYSTICK_DEADBAND)
    mapped_x = 0.0f;
  if (mapped_y > -JOYSTICK_DEADBAND && mapped_y < JOYSTICK_DEADBAND)
    mapped_y = 0.0f;
  if (mapped_z > -JOYSTICK_DEADBAND && mapped_z < JOYSTICK_DEADBAND)
    mapped_z = 0.0f;

  // Tinh van toc mong muon (ap dung dao chieu)
  vx_cmd = mapped_y * Mecanum_4_Bot.max_speed * Robot_Direction;
  vy_cmd = mapped_x * Mecanum_4_Bot.max_speed * Robot_Direction;
  omg_cmd = -mapped_z * Mecanum_4_Bot.max_omega;

  // Gioi han gia toc
  vx_diff = vx_cmd - prev_vx_cmd;
  vy_diff = vy_cmd - prev_vy_cmd;
  omg_diff = omg_cmd - prev_omg_cmd;

  if (vx_diff > SLEW_VX_PER_MS)
    vx_cmd = prev_vx_cmd + SLEW_VX_PER_MS;
  else if (vx_diff < -SLEW_VX_PER_MS)
    vx_cmd = prev_vx_cmd - SLEW_VX_PER_MS;

  if (vy_diff > SLEW_VY_PER_MS)
    vy_cmd = prev_vy_cmd + SLEW_VY_PER_MS;
  else if (vy_diff < -SLEW_VY_PER_MS)
    vy_cmd = prev_vy_cmd - SLEW_VY_PER_MS;

  if (omg_diff > SLEW_OMG_PER_MS)
    omg_cmd = prev_omg_cmd + SLEW_OMG_PER_MS;
  else if (omg_diff < -SLEW_OMG_PER_MS)
    omg_cmd = prev_omg_cmd - SLEW_OMG_PER_MS;

  // Luu gia tri cho lan sau
  prev_vx_cmd = vx_cmd;
  prev_vy_cmd = vy_cmd;
  prev_omg_cmd = omg_cmd;

  // Cap nhat goc IMU
  Mecanum_4_Bot.IMU_theta = -IMU.Yaw;

  // Khoa goc toi uu: co hysteresis + vung im khi dung yen de triet rung lac.
  if (Mecanum_4_Bot.is_yaw_fix)
  {
    float yaw_corr_target = 0.0f;
    float shortest_err_deg = NormalizeAngleDeg((float)(Mecanum_4_Bot.fix_angle - Mecanum_4_Bot.IMU_theta));
    float transl_speed = sqrtf((vx_cmd * vx_cmd) + (vy_cmd * vy_cmd));
    uint8_t is_still = (transl_speed < YAW_FIX_STILL_SPEED_THRESH);
    float hold_engage_deg = is_still ? YAW_FIX_ENGAGE_ERR_DEG : (YAW_FIX_ENGAGE_ERR_DEG * 0.8f);
    float hold_release_deg = is_still ? YAW_FIX_RELEASE_ERR_DEG : (YAW_FIX_RELEASE_ERR_DEG * 1.4f);
    float max_corr_base = is_still ? YAW_FIX_STILL_MAX_CORR : YAW_FIX_MOVE_MAX_CORR;
    float max_corr = max_corr_base;
    float fast_err_ratio = 0.0f;
    float corr_slew = YAW_CORR_SLEW_PER_MS;

    Mecanum_4_Bot.fix_angle = Mecanum_4_Bot.IMU_theta + shortest_err_deg;
    angle_error = fabsf(shortest_err_deg);

    if (angle_error > YAW_FIX_FAST_ERR_START_DEG)
    {
      fast_err_ratio = (angle_error - YAW_FIX_FAST_ERR_START_DEG) /
                       (YAW_FIX_FAST_ERR_FULL_DEG - YAW_FIX_FAST_ERR_START_DEG);
      fast_err_ratio = ClampFloat(fast_err_ratio, 0.0f, 1.0f);

      {
        float boosted_cap = max_corr_base + fast_err_ratio *
                                            ((Mecanum_4_Bot.max_omega * YAW_FIX_FAST_MAX_CORR_RATIO) - max_corr_base);
        if (boosted_cap > max_corr)
        {
          max_corr = boosted_cap;
        }
      }
    }

    corr_slew += (fast_err_ratio * YAW_CORR_SLEW_BOOST_PER_MS);

    if (fabsf(mapped_z) > YAW_FIX_ROT_INTENT_THRESH)
    {
      if (yaw_manual_rotate_counter < YAW_FIX_ROT_INTENT_HOLD_MS)
      {
        yaw_manual_rotate_counter++;
      }

      if (yaw_manual_rotate_counter >= YAW_FIX_ROT_INTENT_HOLD_MS)
      {
        Mecanum_4_Bot.fix_angle = -IMU.Yaw;
        yaw_hold_active = 0u;
        yaw_settle_counter = 0u;
        yaw_corr_prev = 0.0f;
        PID_Init(&Mecanum_Omega_PID);
      }
    }
    else
    {
      yaw_manual_rotate_counter = 0u;

      if (fabsf(mapped_z) < YAW_FIX_ROT_INPUT_DEADBAND)
      {
        if (!yaw_hold_active)
        {
          if (angle_error > hold_engage_deg)
          {
            yaw_hold_active = 1u;
            yaw_settle_counter = 0u;
          }
        }
        else if (angle_error < hold_release_deg)
        {
          if (yaw_settle_counter < YAW_FIX_DWELL_MS)
          {
            yaw_settle_counter++;
          }
          else
          {
            yaw_hold_active = 0u;
            PID_Init(&Mecanum_Omega_PID);
          }
        }
        else
        {
          yaw_settle_counter = 0u;
        }

        if (yaw_hold_active)
        {
          PID_Compute(&Mecanum_Omega_PID);
          extern double Mecanum_Omega_PID_Out;
          yaw_corr_target = (float)Mecanum_Omega_PID_Out;

          if (angle_error > YAW_FIX_KS_START_DEG)
          {
            float ks_ratio = (angle_error - YAW_FIX_KS_START_DEG) /
                             (YAW_FIX_KS_FULL_DEG - YAW_FIX_KS_START_DEG);
            float yaw_ks;
            ks_ratio = ClampFloat(ks_ratio, 0.0f, 1.0f);
            yaw_ks = YAW_FIX_KS_MIN + ks_ratio * (YAW_FIX_KS_MAX - YAW_FIX_KS_MIN);
            yaw_corr_target += (shortest_err_deg >= 0.0f) ? yaw_ks : -yaw_ks;
          }

          yaw_corr_target = ClampFloat(yaw_corr_target, -max_corr, max_corr);
        }
      }
      else
      {
        // Vung trung gian cua input xoay: xa d?n correction de tranh giat.
        yaw_hold_active = 0u;
        yaw_settle_counter = 0u;
        PID_Init(&Mecanum_Omega_PID);
      }
    }

    if (!yaw_hold_active && (fabsf(mapped_z) < YAW_FIX_ROT_INPUT_DEADBAND))
    {
      if (yaw_corr_prev > YAW_CORR_DECAY_PER_MS)
      {
        yaw_corr_prev -= YAW_CORR_DECAY_PER_MS;
      }
      else if (yaw_corr_prev < -YAW_CORR_DECAY_PER_MS)
      {
        yaw_corr_prev += YAW_CORR_DECAY_PER_MS;
      }
      else
      {
        yaw_corr_prev = 0.0f;
      }
    }
    else
    {
      float corr_diff = yaw_corr_target - yaw_corr_prev;
      if (corr_diff > corr_slew)
      {
        corr_diff = corr_slew;
      }
      else if (corr_diff < -corr_slew)
      {
        corr_diff = -corr_slew;
      }
      yaw_corr_prev += corr_diff;
    }

    if (is_still && (angle_error < hold_engage_deg) && (fabsf(yaw_corr_prev) < (YAW_FIX_STILL_MAX_CORR * 0.20f)))
    {
      yaw_corr_prev = 0.0f;
    }

    omg_cmd += yaw_corr_prev;
  }
  else
  {
    yaw_manual_rotate_counter = 0u;
    yaw_hold_active = 0u;
    yaw_settle_counter = 0u;
    yaw_corr_prev = 0.0f;
  }

  omg_cmd = ClampFloat(omg_cmd, -Mecanum_4_Bot.max_omega, Mecanum_4_Bot.max_omega);

  // Tinh dong hoc Mecanum
  MecanumRobot_SetMotion(&Mecanum_4_Bot, vx_cmd, vy_cmd, omg_cmd, IMU.Yaw, 0);

  float wheel_targets[WHEEL_MOTOR_COUNT] = {
      Mecanum_4_Bot.u[0] * WHEEL1_GAIN,
      -Mecanum_4_Bot.u[1] * WHEEL2_GAIN,
      -Mecanum_4_Bot.u[2] * WHEEL3_GAIN,
      -Mecanum_4_Bot.u[3] * WHEEL4_GAIN};

  for (uint8_t i = 0; i < WHEEL_MOTOR_COUNT; i++)
  {
    RobotAcceleration_SetTarget(&Wheel_Acceleration[i], wheel_targets[i], WHEEL_ACCEL_DURATION_SEC);
    Wheel_Motors[i].Set_Point = ClampToInt16(RobotAcceleration_Update(&Wheel_Acceleration[i], CONTROL_DT_SEC));
  }
}

// Cap nhat motor
void Motor_Update(void)
{
  static uint8_t prev_timeout_state = 0;
  static uint8_t first_connect_beep_done = 0;
  static uint8_t steering_refresh_counter = 0;
  Timer_Timeout_Check(Task_TO);

  if (Task_TO[0].Time_Out_Flag == 1)
  {
    Set_LED_State(LED_FAULT, GPIO_PIN_SET);
    Set_LED_State(LED_RUN, GPIO_PIN_RESET);
    Robot_Hold_Stop();
    prev_timeout_state = 1;
  }
  else
  {
    Set_LED_State(LED_FAULT, GPIO_PIN_RESET);
    Set_LED_State(LED_RUN, GPIO_PIN_SET);

    if (prev_timeout_state == 1)
    {
      Buzzer_Beep(100);
      prev_timeout_state = 0;
    }

    if (!first_connect_beep_done && (PS4_LastRxTick != 0u))
    {
      PS4_Ever_Connected = 1;
      first_connect_beep_done = 1;
      Buzzer_Beep(100);
    }
  }

  if (wheel_send_flag == 0)
  {
    if (Driver_Send_Setpoints_U1(Wheel_Motors, WHEEL_MOTOR_COUNT) == HAL_OK)
    {
      wheel_send_flag = 1;
    }
  }

  if (steering_refresh_counter < STEERING_REFRESH_MS)
  {
    steering_refresh_counter++;
  }

  if ((steering_send_flag == 0u) && ((Steering_Dirty_Mask != 0u) || (steering_refresh_counter >= STEERING_REFRESH_MS)))
  {
    if (Steering_Send_Queued() == HAL_OK)
    {
      steering_refresh_counter = 0;
    }
  }
}

/* USER CODE END 0 */

int main(void)
{

  /* MPU Configuration--------------------------------------------------------*/
  MPU_Config();

  /* MCU Configuration--------------------------------------------------------*/

  /* Reset of all peripherals, Initializes the Flash interface and the Systick. */
  HAL_Init();

  /* Configure the system clock */
  SystemClock_Config();

  /* Initialize all configured peripherals */
  MX_GPIO_Init();
  MX_DMA_Init();
  MX_USART3_UART_Init();
  MX_USART1_UART_Init();
  MX_TIM1_Init();
  MX_TIM4_Init();
  MX_TIM5_Init();
  MX_TIM16_Init();
  MX_TIM17_Init();
  MX_USART2_UART_Init();
  MX_UART5_Init();
  /* USER CODE BEGIN 2 */

  // Khoi tao PS4
  PS4_Init(&huart1);

  // Khoi tao IMU
  WT901C_Init(&IMU, &huart2);
  WT901C_Begin_Recieve(&IMU);

  // Khoi tao Robot Mecanum
  MecanumRobot_Init(&Mecanum_4_Bot, Robot_Max_Speed, Robot_Max_Omega);

  // Khoi tao Motor drivers
  Driver_PID_AML_Init_UART(&huart3, Wheel_Motors);
  Driver_PID_AML_Init_UART(&huart5, Steering_Motors);
  for (uint8_t i = 0; i < WHEEL_MOTOR_COUNT; i++)
  {
    Wheel_Motors[i].Driver_UART = &huart3;
  }
  for (uint8_t i = 0; i < STEERING_MOTOR_COUNT; i++)
  {
    Steering_Motors[i].Driver_UART = &huart5;
  }
  Assign_PID_AML_Id(&Wheel_Motors[0], 1);
  Assign_PID_AML_Id(&Wheel_Motors[1], 2);
  Assign_PID_AML_Id(&Wheel_Motors[2], 3);
  Assign_PID_AML_Id(&Wheel_Motors[3], 4);
  Assign_PID_AML_Id(&Steering_Motors[0], 5);
  Assign_PID_AML_Id(&Steering_Motors[1], 6);

  for (uint8_t i = 0; i < WHEEL_MOTOR_COUNT; i++)
  {
    RobotAcceleration_Init(&Wheel_Acceleration[i], 0.0f, WHEEL_ACCEL_DURATION_SEC);
  }

  for (uint8_t i = 0; i < STEERING_MOTOR_COUNT; i++)
  {
    RobotAcceleration_Init(&Steering_Acceleration[i], (float)Steering_Target[i], STEERING_ACCEL_DURATION_SEC);
  }

  Steering_SoftHome_FromReference();
  // Tu dong tim home ID5 ngay khi bat main (khong can bam L1).
  Handle_L1_Home_Request();
  Steering_Id5_LimitLevel_Monitor();
  Steering_Id5_LimitHome_Process();

  (void)Driver_Send_Setpoints_U1(Wheel_Motors, WHEEL_MOTOR_COUNT);
  (void)Steering_Send_Queued();

  // Khoi tao Timeout Timer
  Timeout_Begin();
  Timer_Timeout_Start(&htim5);
  HAL_TIM_Base_Start_IT(&htim16);

  /* USER CODE END 2 */

  /* Infinite loop */
  while (1)
  {

    /* USER CODE BEGIN 3 */
    Debug_Snapshot_Update();
    Steering_Id5_LimitLevel_Monitor();
    Steering_Id5_LimitHome_Process();

    /*----------------------------XU LY RESET GOC IMU----------------------------*/
    if (Robot_Reset_Home)
    {
      Robot_Reset_Home = 0;
      WT901C_Reset_Angles(&IMU);
      Buzzer_Beep(120);
    }
    /*----------------------------MAIN LOOP - X\u1eeaL L\u00dd THEO FLAG----------------------------*/
    /* Ch\u1ec9 x\u1eed l\u00fd khi c\u00f3 flag t\u1eeb timer interrupt */
    if (tick_1ms_pending != 0u)
    {
      uint16_t pending_ticks;

      __disable_irq();
      pending_ticks = tick_1ms_pending;
      tick_1ms_pending = 0u;
      __enable_irq();

      while (pending_ticks-- > 0u)
      {
        /* 1. Xu ly PS4 request */
        PS4_Process();

        /* 2. Tinh toan dong hoc Mecanum */
        Mecanum_Calculate();

        /* 3. Cap nhat motor (bao gom timeout check) */
        Debug_Snapshot_Update();
        Steering_Id5_LimitLevel_Monitor();
        Steering_Id5_LimitHome_Process();
        Position_Motor_Update();
        Motor_Update();
      }
    }
  }
  /* USER CODE END 3 */
}

void SystemClock_Config(void)
{
  RCC_OscInitTypeDef RCC_OscInitStruct = {0};
  RCC_ClkInitTypeDef RCC_ClkInitStruct = {0};

  /** Supply configuration update enable
  */
  HAL_PWREx_ConfigSupply(PWR_LDO_SUPPLY);

  /** Configure the main internal regulator output voltage
  */
  __HAL_PWR_VOLTAGESCALING_CONFIG(PWR_REGULATOR_VOLTAGE_SCALE0);

  while(!__HAL_PWR_GET_FLAG(PWR_FLAG_VOSRDY)) {}

  /** Initializes the RCC Oscillators according to the specified parameters
  * in the RCC_OscInitTypeDef structure.
  */
  RCC_OscInitStruct.OscillatorType = RCC_OSCILLATORTYPE_HSE;
  RCC_OscInitStruct.HSEState = RCC_HSE_ON;
  RCC_OscInitStruct.PLL.PLLState = RCC_PLL_ON;
  RCC_OscInitStruct.PLL.PLLSource = RCC_PLLSOURCE_HSE;
  RCC_OscInitStruct.PLL.PLLM = 3;
  RCC_OscInitStruct.PLL.PLLN = 60;
  RCC_OscInitStruct.PLL.PLLP = 2;
  RCC_OscInitStruct.PLL.PLLQ = 2;
  RCC_OscInitStruct.PLL.PLLR = 2;
  RCC_OscInitStruct.PLL.PLLRGE = RCC_PLL1VCIRANGE_3;
  RCC_OscInitStruct.PLL.PLLVCOSEL = RCC_PLL1VCOWIDE;
  RCC_OscInitStruct.PLL.PLLFRACN = 0;
  if (HAL_RCC_OscConfig(&RCC_OscInitStruct) != HAL_OK)
  {
    Error_Handler();
  }

  /** Initializes the CPU, AHB and APB buses clocks
  */
  RCC_ClkInitStruct.ClockType = RCC_CLOCKTYPE_HCLK|RCC_CLOCKTYPE_SYSCLK
                              |RCC_CLOCKTYPE_PCLK1|RCC_CLOCKTYPE_PCLK2
                              |RCC_CLOCKTYPE_D3PCLK1|RCC_CLOCKTYPE_D1PCLK1;
  RCC_ClkInitStruct.SYSCLKSource = RCC_SYSCLKSOURCE_PLLCLK;
  RCC_ClkInitStruct.SYSCLKDivider = RCC_SYSCLK_DIV1;
  RCC_ClkInitStruct.AHBCLKDivider = RCC_HCLK_DIV2;
  RCC_ClkInitStruct.APB3CLKDivider = RCC_APB3_DIV2;
  RCC_ClkInitStruct.APB1CLKDivider = RCC_APB1_DIV2;
  RCC_ClkInitStruct.APB2CLKDivider = RCC_APB2_DIV2;
  RCC_ClkInitStruct.APB4CLKDivider = RCC_APB4_DIV2;

  if (HAL_RCC_ClockConfig(&RCC_ClkInitStruct, FLASH_LATENCY_4) != HAL_OK)
  {
    Error_Handler();
  }
}

 /* MPU Configuration */

void MPU_Config(void)
{
  MPU_Region_InitTypeDef MPU_InitStruct = {0};

  /* Disables the MPU */
  HAL_MPU_Disable();

  /** Initializes and configures the Region and the memory to be protected
  */
  MPU_InitStruct.Enable = MPU_REGION_ENABLE;
  MPU_InitStruct.Number = MPU_REGION_NUMBER0;
  MPU_InitStruct.BaseAddress = 0x0;
  MPU_InitStruct.Size = MPU_REGION_SIZE_4GB;
  MPU_InitStruct.SubRegionDisable = 0x87;
  MPU_InitStruct.TypeExtField = MPU_TEX_LEVEL0;
  MPU_InitStruct.AccessPermission = MPU_REGION_NO_ACCESS;
  MPU_InitStruct.DisableExec = MPU_INSTRUCTION_ACCESS_DISABLE;
  MPU_InitStruct.IsShareable = MPU_ACCESS_SHAREABLE;
  MPU_InitStruct.IsCacheable = MPU_ACCESS_NOT_CACHEABLE;
  MPU_InitStruct.IsBufferable = MPU_ACCESS_NOT_BUFFERABLE;

  HAL_MPU_ConfigRegion(&MPU_InitStruct);
  /* Enables the MPU */
  HAL_MPU_Enable(MPU_PRIVILEGED_DEFAULT);

}

void Error_Handler(void)
{
  __disable_irq();
  while (1)
  {
  }
}
